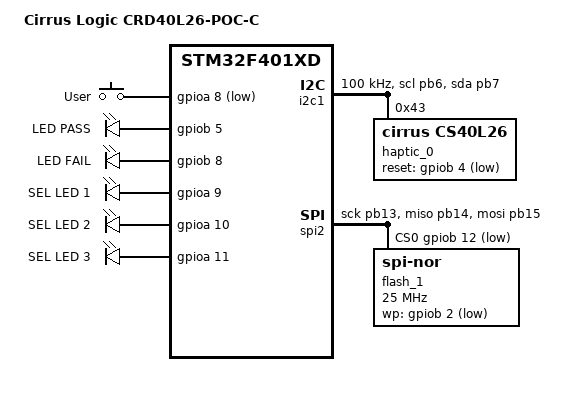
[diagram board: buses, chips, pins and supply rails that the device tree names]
/*
 * Copyright (c) 2026 Cirrus Logic, Inc.
 *
 * SPDX-License-Identifier: Apache-2.0
 */

/dts-v1/;
#include <st/f4/stm32f401Xd.dtsi>
#include <st/f4/stm32f401c(d-e)yx-pinctrl.dtsi>
#include <zephyr/dt-bindings/input/input-event-codes.h>

/ {
	model = "Cirrus Logic CRD40L26-POC-C";
	compatible = "cirrus,crd40l26";

	aliases {
		flash1 = &flash_1;
		haptic0 = &haptic_0;
		led0 = &green_led_1;
		led1 = &red_led_1;
		led2 = &yellow_led_1;
		led3 = &yellow_led_2;
		led4 = &yellow_led_3;
		sw0 = &user_button;
	};

	buttons {
		compatible = "gpio-keys";

		user_button: button {
			label = "User";
			gpios = <&gpioa 8 GPIO_ACTIVE_LOW>;
			zephyr,code = <INPUT_KEY_0>;
		};
	};

	chosen {
		zephyr,code-partition = &slot0_partition;
		zephyr,console = &rtt0;
		zephyr,flash = &flash0;
		zephyr,flash-controller = &flash_1;
		zephyr,sram = &sram0;
	};

	leds {
		compatible = "gpio-leds";

		green_led_1: led_1 {
			gpios = <&gpiob 5 GPIO_ACTIVE_HIGH>;
			label = "LED PASS";
		};

		red_led_1: led_2 {
			gpios = <&gpiob 8 GPIO_ACTIVE_HIGH>;
			label = "LED FAIL";
		};

		yellow_led_1: led_3 {
			gpios = <&gpioa 9 GPIO_ACTIVE_HIGH>;
			label = "SEL LED 1";
		};

		yellow_led_2: led_4 {
			gpios = <&gpioa 10 GPIO_ACTIVE_HIGH>;
			label = "SEL LED 2";
		};

		yellow_led_3: led_5 {
			gpios = <&gpioa 11 GPIO_ACTIVE_HIGH>;
			label = "SEL LED 3";
		};
	};

	rtt0: rtt_chan0 {
		compatible = "segger,rtt-uart";
		status = "okay";
	};
};

&clk_lse {
	status = "okay";
};

&clk_hsi {
	status = "okay";
};

&pll {
	status = "okay";

	clocks = <&clk_hsi>;

	div-m = <16>;
	mul-n = <336>;
	div-p = <4>;
	div-q = <7>;
};

&rcc {
	clocks = <&pll>;
	clock-frequency = <DT_FREQ_M(84)>;

	ahb-prescaler = <1>;
	apb1-prescaler = <2>;
	apb2-prescaler = <1>;
};

&i2c1 {
	status = "okay";

	clock-frequency = <I2C_BITRATE_STANDARD>;

	pinctrl-0 = <&i2c1_scl_pb6 &i2c1_sda_pb7>;
	pinctrl-1 = <&analog_pb6 &analog_pb7>;
	pinctrl-names = "default", "sleep";

	haptic_0: haptic@43 {
		compatible = "cirrus,cs40l26";
		reg = <0x43>;

		/*
		 * If R37 is populated, then an interrupt is available at
		 * GPIOH pin 0. Otherwise, the boards supports audio data out.
		 */
		reset-gpios = <&gpiob 4 GPIO_ACTIVE_LOW>;

		flash-storage = <&flash_1>;
		flash-offset = <0>;

		status = "okay";
	};
};

&spi2 {
	status = "okay";

	cs-gpios = <&gpiob 12 (GPIO_ACTIVE_LOW | GPIO_PULL_UP)>;

	pinctrl-0 = <&spi2_sck_pb13 &spi2_miso_pb14 &spi2_mosi_pb15>;
	pinctrl-1 = <&analog_pb13 &analog_pb14 &analog_pb15>;
	pinctrl-names = "default", "sleep";

	flash_1: flash@0 {
		compatible = "jedec,spi-nor";
		reg = <0>;
		spi-max-frequency = <DT_FREQ_M(25)>;

		jedec-id = [62 16 12];

		size = <DT_SIZE_M(2)>;
		page-size = <256>;

		has-dpd;
		t-enter-dpd = <5000>;
		t-exit-dpd = <5000>;
		has-lock = <0xbc>;

		wp-gpios = <&gpiob 2 GPIO_ACTIVE_LOW>;

		status = "okay";
	};
};

&flash0 {
	partitions {
		#address-cells = <1>;
		#size-cells = <1>;
		ranges;

		boot_partition: partition@0 {
			compatible = "zephyr,mapped-partition";
			label = "mcuboot";
			reg = <0x00000000 DT_SIZE_K(64)>;
			read-only;
		};

		/*
		 * The flash starting at offset 0x10000 and ending at
		 * offset 0x1ffff is reserved for use by the application.
		 */

		slot0_partition: partition@20000 {
			compatible = "zephyr,mapped-partition";
			label = "image-0";
			reg = <0x00020000 DT_SIZE_K(64)>;
		};

		slot1_partition: partition@30000 {
			compatible = "zephyr,mapped-partition";
			label = "image-1";
			reg = <0x00030000 DT_SIZE_K(64)>;
		};

		scratch_partition: partition@40000 {
			compatible = "zephyr,mapped-partition";
			label = "image-scratch";
			reg = <0x00040000 DT_SIZE_K(64)>;
		};

		storage_partition: partition@50000 {
			compatible = "zephyr,mapped-partition";
			label = "storage";
			reg = <0x00050000 DT_SIZE_K(64)>;
		};
	};
};
